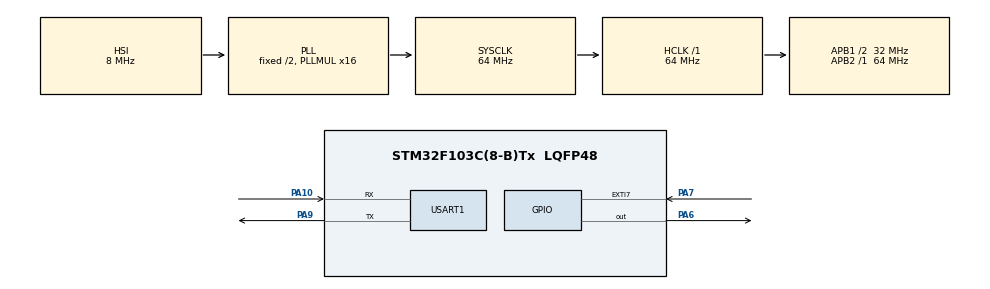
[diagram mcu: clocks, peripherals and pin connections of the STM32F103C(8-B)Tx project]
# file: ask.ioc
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Dma.Request0=USART1_RX
Dma.Request1=USART1_TX
Dma.USART1_RX.0.Direction=DMA_PERIPH_TO_MEMORY
Dma.USART1_RX.0.Instance=DMA1_Channel5
Dma.USART1_RX.0.MemDataAlignment=DMA_MDATAALIGN_BYTE
Dma.USART1_RX.0.MemInc=DMA_MINC_ENABLE
Dma.USART1_RX.0.Mode=DMA_NORMAL
Dma.USART1_RX.0.PeriphDataAlignment=DMA_PDATAALIGN_BYTE
Dma.USART1_RX.0.PeriphInc=DMA_PINC_DISABLE
Dma.USART1_RX.0.Priority=DMA_PRIORITY_LOW
Dma.USART1_TX.1.Direction=DMA_MEMORY_TO_PERIPH
Dma.USART1_TX.1.Instance=DMA1_Channel4
Dma.USART1_TX.1.MemDataAlignment=DMA_MDATAALIGN_BYTE
Dma.USART1_TX.1.MemInc=DMA_MINC_ENABLE
Dma.USART1_TX.1.Mode=DMA_NORMAL
Dma.USART1_TX.1.PeriphDataAlignment=DMA_PDATAALIGN_BYTE
Dma.USART1_TX.1.PeriphInc=DMA_PINC_DISABLE
Dma.USART1_TX.1.Priority=DMA_PRIORITY_LOW
Mcu.Family=STM32F1
Mcu.Name=STM32F103C(8-B)Tx
Mcu.Package=LQFP48
NVIC.DMA1_Channel4_IRQn=true\:0\:0\:false\:false\:true\:false\:true
NVIC.DMA1_Channel5_IRQn=true\:0\:0\:false\:false\:true\:false\:true
NVIC.EXTI9_5_IRQn=true\:0\:0\:false\:false\:true\:true\:true
NVIC.PriorityGroup=NVIC_PRIORITYGROUP_4
NVIC.TIM2_IRQn=true\:0\:0\:false\:false\:true\:true\:true
NVIC.USART1_IRQn=true\:0\:0\:false\:false\:true\:true\:true
PA10.Mode=Asynchronous
PA10.Signal=USART1_RX
PA13.Mode=JTAG_4_pins
PA13.Signal=SYS_JTMS-SWDIO
PA14.Mode=JTAG_4_pins
PA14.Signal=SYS_JTCK-SWCLK
PA15.Mode=JTAG_4_pins
PA15.Signal=SYS_JTDI
PA6.Signal=GPIO_Output
PA7.GPIO_ModeDefaultEXTI=GPIO_MODE_IT_RISING_FALLING
PA7.GPIO_PuPd=GPIO_PULLUP
PA7.Signal=GPXTI7
PA9.Mode=Asynchronous
PA9.Signal=USART1_TX
PB3.Mode=JTAG_4_pins
PB3.Signal=SYS_JTDO-TRACESWO
PD0-OSC_IN.Mode=HSE-External-Oscillator
PD0-OSC_IN.Signal=RCC_OSC_IN
PD1-OSC_OUT.Mode=HSE-External-Oscillator
PD1-OSC_OUT.Signal=RCC_OSC_OUT
ProjectManager.HeapSize=0x200
ProjectManager.StackSize=0x400
ProjectManager.TargetToolchain=MDK-ARM V5.27
RCC.AHBFreq_Value=64000000
RCC.APB1CLKDivider=RCC_HCLK_DIV2
RCC.APB1Freq_Value=32000000
RCC.APB1TimFreq_Value=64000000
RCC.APB2Freq_Value=64000000
RCC.APB2TimFreq_Value=64000000
RCC.HCLKFreq_Value=64000000
RCC.PLLMUL=RCC_PLL_MUL16
RCC.SYSCLKFreq_VALUE=64000000
RCC.SYSCLKSource=RCC_SYSCLKSOURCE_PLLCLK
RCC.USBFreq_Value=64000000
TIM2.AutoReloadPreload=TIM_AUTORELOAD_PRELOAD_DISABLE
TIM2.Period=0xFFFF
TIM2.Prescaler=64 - 1
USART1.VirtualMode=VM_ASYNC
VP_TIM2_VS_ClockSourceINT.Mode=Internal
board=custom

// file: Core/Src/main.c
/* USER CODE BEGIN Header */
/**
  ******************************************************************************
  * @file           : main.c
  * @brief          : Main program body
  ******************************************************************************
  * @attention
  *
  * <h2><center>&copy; Copyright (c) 2022 STMicroelectronics.
  * All rights reserved.</center></h2>
  *
  * This software component is licensed by ST under BSD 3-Clause license,
  * the "License"; You may not use this file except in compliance with the
  * License. You may obtain a copy of the License at:
  *                        opensource.org/licenses/BSD-3-Clause
  *
  ******************************************************************************
  */
/* USER CODE END Header */
#include "main.h"
#include "dma.h"
#include "tim.h"
#include "usart.h"
#include "gpio.h"

void SystemClock_Config(void);

/* USER CODE BEGIN 0 */
#include "string.h"
#include "ask.h"
#include "ask_hal.h"
uint8_t rev_buf[100];
uint8_t uart_available = 0;

void ask_main(void *argument)
{
  /* USER CODE BEGIN StartTask_Main */
  /* Infinite loop */
  uint8_t data[5];
  ask315.fn_init_rx = ask_init_rx315;
  ask315.fn_init_tx = ask_init_tx315;
  ask315.fn_micros = ask_micros_315;
  ask315.fn_read_pin = ask_read_pin_315;
  ask315.fn_write_pin = ask_write_pin_315;
  ask315.fn_delay_ms = ask_delay_ms_315;
  ask315.fn_delay_us = ask_delay_us_315;
  ask315.fn_restat_tm = ask_restart_timer;
  ask_init(&ask315);
	ask315.enable_rx = true;
  for(;;)
  {
      HAL_Delay(1);
      if (ask_available(&ask315))
      {
          ask_read_bytes(&ask315, data);
					HAL_UART_Transmit(&huart1,data,3,0x200);
          //ask_wait(&ask315);
					//ask_send_bytes(&ask315,"123",3,100,3);
      }
      if(uart_available){
        unsigned char outMsg[100];
        unsigned char len = strlen(rev_buf);
        uart_available = 0;
        sprintf(outMsg,"rx %d bytes:%s\n",len,rev_buf);
        HAL_UART_Transmit(&huart1,outMsg,strlen(outMsg),0x200);
        ask_send_bytes(&ask315,rev_buf,len,86 * 16,20);
      }
  }
  /* USER CODE END StartTask_Main */
}
/* USER CODE END 0 */

int main(void)
{

  /* MCU Configuration--------------------------------------------------------*/

  /* Reset of all peripherals, Initializes the Flash interface and the Systick. */
  HAL_Init();

  /* Configure the system clock */
  SystemClock_Config();

  /* Initialize all configured peripherals */
  MX_GPIO_Init();
  MX_DMA_Init();
  MX_TIM2_Init();
  MX_USART1_UART_Init();
  /* USER CODE BEGIN 2 */
	//HAL_TIM_Base_Start_IT(&htim2);
	__HAL_UART_ENABLE_IT(&huart1, UART_IT_IDLE);
	HAL_UART_Receive_DMA(&huart1,(uint8_t *)rev_buf,sizeof(rev_buf));
	HAL_UART_Transmit(&huart1,"start",5,0x200);
	ask_main(0);
  /* USER CODE END 2 */

  /* Infinite loop */
  while (1)
  {

  }
}

void SystemClock_Config(void)
{
  RCC_OscInitTypeDef RCC_OscInitStruct = {0};
  RCC_ClkInitTypeDef RCC_ClkInitStruct = {0};

  /** Initializes the RCC Oscillators according to the specified parameters
  * in the RCC_OscInitTypeDef structure.
  */
  RCC_OscInitStruct.OscillatorType = RCC_OSCILLATORTYPE_HSI;
  RCC_OscInitStruct.HSIState = RCC_HSI_ON;
  RCC_OscInitStruct.HSICalibrationValue = RCC_HSICALIBRATION_DEFAULT;
  RCC_OscInitStruct.PLL.PLLState = RCC_PLL_ON;
  RCC_OscInitStruct.PLL.PLLSource = RCC_PLLSOURCE_HSI_DIV2;
  RCC_OscInitStruct.PLL.PLLMUL = RCC_PLL_MUL16;
  if (HAL_RCC_OscConfig(&RCC_OscInitStruct) != HAL_OK)
  {
    Error_Handler();
  }
  /** Initializes the CPU, AHB and APB buses clocks
  */
  RCC_ClkInitStruct.ClockType = RCC_CLOCKTYPE_HCLK|RCC_CLOCKTYPE_SYSCLK
                              |RCC_CLOCKTYPE_PCLK1|RCC_CLOCKTYPE_PCLK2;
  RCC_ClkInitStruct.SYSCLKSource = RCC_SYSCLKSOURCE_PLLCLK;
  RCC_ClkInitStruct.AHBCLKDivider = RCC_SYSCLK_DIV1;
  RCC_ClkInitStruct.APB1CLKDivider = RCC_HCLK_DIV2;
  RCC_ClkInitStruct.APB2CLKDivider = RCC_HCLK_DIV1;

  if (HAL_RCC_ClockConfig(&RCC_ClkInitStruct, FLASH_LATENCY_2) != HAL_OK)
  {
    Error_Handler();
  }
}

void Error_Handler(void)
{
  __disable_irq();
  while (1)
  {
  }
}

/************************ (C) COPYRIGHT STMicroelectronics *****END OF FILE****/
